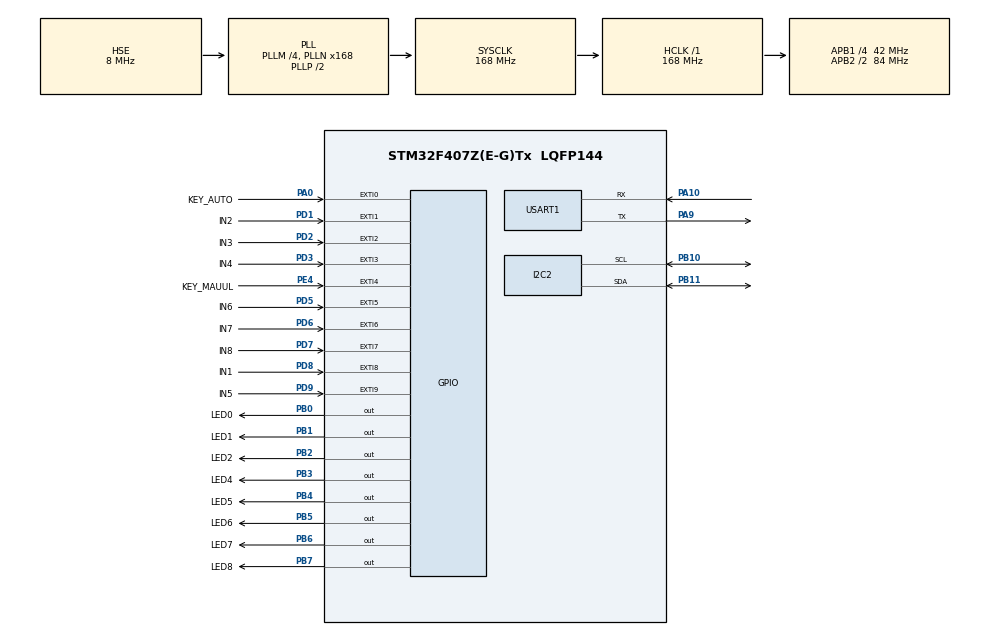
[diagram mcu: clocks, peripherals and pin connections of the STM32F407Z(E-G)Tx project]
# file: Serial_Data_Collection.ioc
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Mcu.Family=STM32F4
Mcu.Name=STM32F407Z(E-G)Tx
Mcu.Package=LQFP144
NVIC.EXTI0_IRQn=true\:4\:0\:true\:false\:true\:true\:true\:true
NVIC.EXTI1_IRQn=true\:4\:0\:true\:false\:true\:true\:true\:true
NVIC.EXTI2_IRQn=true\:4\:0\:true\:false\:true\:true\:true\:true
NVIC.EXTI3_IRQn=true\:4\:0\:true\:false\:true\:true\:true\:true
NVIC.EXTI4_IRQn=true\:4\:0\:true\:false\:true\:true\:true\:true
NVIC.EXTI9_5_IRQn=true\:4\:0\:true\:false\:true\:true\:true\:true
NVIC.PriorityGroup=NVIC_PRIORITYGROUP_4
NVIC.TIM2_IRQn=true\:1\:0\:true\:false\:true\:true\:true\:true
NVIC.USART1_IRQn=true\:2\:0\:true\:false\:true\:true\:true\:true
PA0-WKUP.GPIO_Label=KEY_AUTO
PA0-WKUP.GPIO_PuPd=GPIO_PULLDOWN
PA0-WKUP.Signal=GPXTI0
PA10.Mode=Asynchronous
PA10.Signal=USART1_RX
PA13.Mode=Serial_Wire
PA13.Signal=SYS_JTMS-SWDIO
PA14.Mode=Serial_Wire
PA14.Signal=SYS_JTCK-SWCLK
PA9.Mode=Asynchronous
PA9.Signal=USART1_TX
PB0.GPIO_Label=LED0
PB0.Signal=GPIO_Output
PB1.GPIO_Label=LED1
PB1.Signal=GPIO_Output
PB10.Mode=I2C
PB10.Signal=I2C2_SCL
PB11.Mode=I2C
PB11.Signal=I2C2_SDA
PB2.GPIO_Label=LED2
PB2.Signal=GPIO_Output
PB3.GPIO_Label=LED4
PB3.Signal=GPIO_Output
PB4.GPIO_Label=LED5
PB4.Signal=GPIO_Output
PB5.GPIO_Label=LED6
PB5.Signal=GPIO_Output
PB6.GPIO_Label=LED7
PB6.Signal=GPIO_Output
PB7.GPIO_Label=LED8
PB7.Signal=GPIO_Output
PD1.GPIO_Label=IN2
PD1.GPIO_PuPd=GPIO_PULLDOWN
PD1.Signal=GPXTI1
PD2.GPIO_Label=IN3
PD2.GPIO_PuPd=GPIO_PULLDOWN
PD2.Signal=GPXTI2
PD3.GPIO_Label=IN4
PD3.GPIO_PuPd=GPIO_PULLDOWN
PD3.Signal=GPXTI3
PD5.GPIO_Label=IN6
PD5.GPIO_PuPd=GPIO_PULLDOWN
PD5.Signal=GPXTI5
PD6.GPIO_Label=IN7
PD6.GPIO_ModeDefaultEXTI=GPIO_MODE_IT_RISING
PD6.GPIO_PuPd=GPIO_PULLDOWN
PD6.Signal=GPXTI6
PD7.GPIO_Label=IN8
PD7.GPIO_ModeDefaultEXTI=GPIO_MODE_IT_RISING
PD7.GPIO_PuPd=GPIO_PULLDOWN
PD7.Signal=GPXTI7
PD8.GPIO_Label=IN1
PD8.GPIO_PuPd=GPIO_PULLDOWN
PD8.Signal=GPXTI8
PD9.GPIO_Label=IN5
PD9.GPIO_PuPd=GPIO_PULLDOWN
PD9.Signal=GPXTI9
PE4.GPIO_Label=KEY_MAUUL
PE4.GPIO_PuPd=GPIO_PULLDOWN
PE4.Signal=GPXTI4
PH0-OSC_IN.Mode=HSE-External-Oscillator
PH0-OSC_IN.Signal=RCC_OSC_IN
PH1-OSC_OUT.Mode=HSE-External-Oscillator
PH1-OSC_OUT.Signal=RCC_OSC_OUT
ProjectManager.HeapSize=0x200
ProjectManager.StackSize=0x400
ProjectManager.TargetToolchain=MDK-ARM V5.32
RCC.48MHZClocksFreq_Value=84000000
RCC.AHBFreq_Value=168000000
RCC.APB1CLKDivider=RCC_HCLK_DIV4
RCC.APB1Freq_Value=42000000
RCC.APB1TimFreq_Value=84000000
RCC.APB2CLKDivider=RCC_HCLK_DIV2
RCC.APB2Freq_Value=84000000
RCC.APB2TimFreq_Value=168000000
RCC.CortexFreq_Value=168000000
RCC.HCLKFreq_Value=168000000
RCC.HSE_VALUE=8000000
RCC.HSI_VALUE=16000000
RCC.LSE_VALUE=32768
RCC.PLLM=4
RCC.PLLN=168
RCC.PLLSourceVirtual=RCC_PLLSOURCE_HSE
RCC.SYSCLKFreq_VALUE=168000000
RCC.SYSCLKSource=RCC_SYSCLKSOURCE_PLLCLK
RCC.VCOOutputFreq_Value=336000000
TIM2.AutoReloadPreload=TIM_AUTORELOAD_PRELOAD_ENABLE
TIM2.Period=9999
TIM2.Prescaler=839
USART1.VirtualMode=VM_ASYNC
VP_TIM2_VS_ClockSourceINT.Mode=Internal
board=custom

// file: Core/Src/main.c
/* USER CODE BEGIN Header */
/**
  ******************************************************************************
  * @file           : main.c
  * @brief          : Main program body — 远程数据采集装置
  ******************************************************************************
  * @attention
  *
  * Copyright (c) 2026 STMicroelectronics.
  * All rights reserved.
  *
  * This software is licensed under terms that can be found in the LICENSE file
  * in the root directory of this software component.
  * If no LICENSE file comes with this software, it is provided AS-IS.
  *
  ******************************************************************************
  */
/* USER CODE END Header */
#include "main.h"
#include "i2c.h"
#include "tim.h"
#include "usart.h"
#include "gpio.h"

/* USER CODE BEGIN Includes */
#include "oled.h"
#include "daq.h"
#include "display.h"
#include <stdio.h>
/* USER CODE END Includes */

void SystemClock_Config(void);

int main(void)
{

  /* MCU Configuration--------------------------------------------------------*/

  /* Reset of all peripherals, Initializes the Flash interface and the Systick. */
  HAL_Init();

  /* Configure the system clock */
  SystemClock_Config();

  /* Initialize all configured peripherals */
  MX_GPIO_Init();
  MX_I2C2_Init();
  MX_TIM2_Init();
  MX_USART1_UART_Init();
  /* USER CODE BEGIN 2 */

  /* ---- 显示初始化 (OLED启动画面 + LED自检) ---- */
  Display_Init();

  /* ---- 数据采集启动 (TIM2 100ms + USART1接收中断) ---- */
  DAQ_Init();

  /* USER CODE END 2 */

  /* Infinite loop */
  while (1)
  {

    /* USER CODE BEGIN 3 */
    /* 1. 发送数据帧 (手动按键 或 自动1s) */
    if (send_flag)
		{
      send_flag = 0;
      SendDataFrame(io_state);
      total_count++;                    /* 总计数: 永不重置 */
      mode_count++;                     /* 当前模式计数: 切模式时在回调中清零 */;
    }

    /* 2. LED实时跟随 */
    UpdateLEDs(io_state);

    /* 3. OLED 500ms刷新 */
    if (oled_flag)
		{
      oled_flag = 0;
      UpdateOLEDDisplay(io_state);
    }
  }
  /* USER CODE END 3 */
}

void SystemClock_Config(void)
{
  RCC_OscInitTypeDef RCC_OscInitStruct = {0};
  RCC_ClkInitTypeDef RCC_ClkInitStruct = {0};

  /** Configure the main internal regulator output voltage
  */
  __HAL_RCC_PWR_CLK_ENABLE();
  __HAL_PWR_VOLTAGESCALING_CONFIG(PWR_REGULATOR_VOLTAGE_SCALE1);

  /** Initializes the RCC Oscillators according to the specified parameters
  * in the RCC_OscInitTypeDef structure.
  */
  RCC_OscInitStruct.OscillatorType = RCC_OSCILLATORTYPE_HSE;
  RCC_OscInitStruct.HSEState = RCC_HSE_ON;
  RCC_OscInitStruct.PLL.PLLState = RCC_PLL_ON;
  RCC_OscInitStruct.PLL.PLLSource = RCC_PLLSOURCE_HSE;
  RCC_OscInitStruct.PLL.PLLM = 4;
  RCC_OscInitStruct.PLL.PLLN = 168;
  RCC_OscInitStruct.PLL.PLLP = RCC_PLLP_DIV2;
  RCC_OscInitStruct.PLL.PLLQ = 4;
  if (HAL_RCC_OscConfig(&RCC_OscInitStruct) != HAL_OK)
  {
    Error_Handler();
  }

  /** Initializes the CPU, AHB and APB buses clocks
  */
  RCC_ClkInitStruct.ClockType = RCC_CLOCKTYPE_HCLK|RCC_CLOCKTYPE_SYSCLK
                              |RCC_CLOCKTYPE_PCLK1|RCC_CLOCKTYPE_PCLK2;
  RCC_ClkInitStruct.SYSCLKSource = RCC_SYSCLKSOURCE_PLLCLK;
  RCC_ClkInitStruct.AHBCLKDivider = RCC_SYSCLK_DIV1;
  RCC_ClkInitStruct.APB1CLKDivider = RCC_HCLK_DIV4;
  RCC_ClkInitStruct.APB2CLKDivider = RCC_HCLK_DIV2;

  if (HAL_RCC_ClockConfig(&RCC_ClkInitStruct, FLASH_LATENCY_5) != HAL_OK)
  {
    Error_Handler();
  }
}

void Error_Handler(void)
{
  __disable_irq();
  while (1)
  {
  }
}
